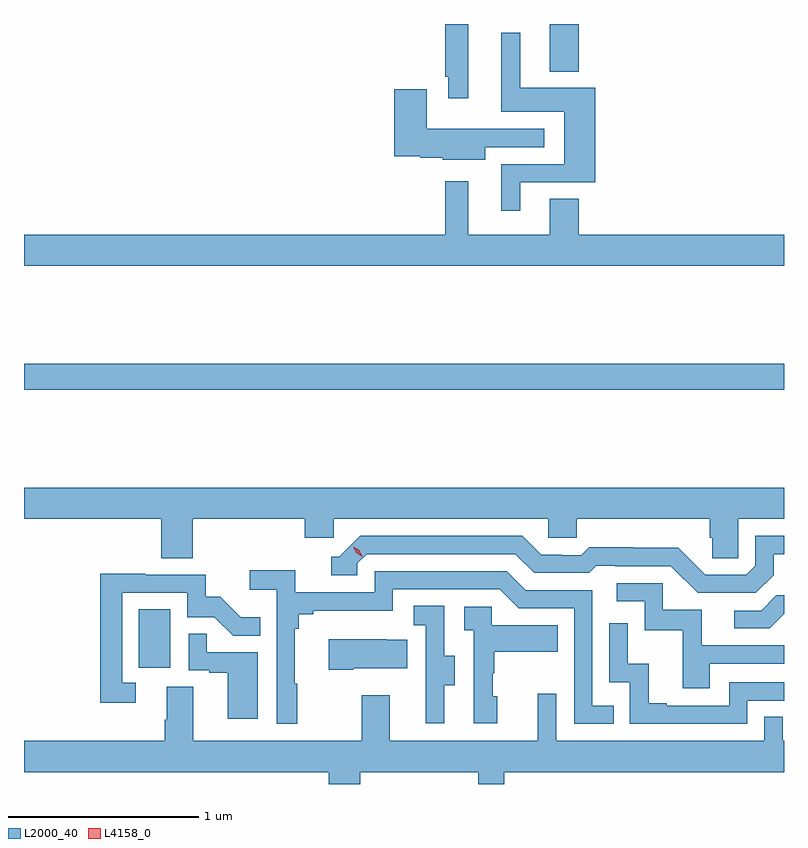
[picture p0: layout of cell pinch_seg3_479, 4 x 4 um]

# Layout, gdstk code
import gdstk
lib = gdstk.Library(unit=1e-6, precision=1e-09)
def R(c, l, rs):  # rectangles x0, y0, x1, y1
    for r in rs: c.add(gdstk.rectangle(r[:2], r[2:], *l))
def P(c, l, *ps):  # polygons
    for p in ps: c.add(gdstk.Polygon(p, *l))
L2000_40 = (2000, 40)
L4158_0 = (4158, 0)

pinch_seg3_479 = lib.new_cell('pinch_seg3_479')
R(pinch_seg3_479, L2000_40, [(1008.698,670.83,1008.862,671.137), (1008.093,672.292,1012.093,672.428), (1010.861,673.967,1011.014,674.217)])
P(pinch_seg3_479, L2000_40, [(1010.431,674.217),(1010.31,674.217),(1010.31,673.939),(1010.327,673.939),(1010.327,673.827),(1010.431,673.827)],
  [(1010.704,673.383),(1011.1,673.383),(1011.1,673.882),(1010.704,673.882),(1010.704,674.17),(1010.606,674.17),(1010.606,673.754),(1010.936,673.754),(1010.936,673.479),(1010.606,673.479),(1010.606,673.233),(1010.704,673.233)],
  [(1010.521,673.569),(1010.83,673.569),(1010.83,673.665),(1010.517,673.665),(1010.517,673.666),(1010.212,673.666),(1010.212,673.873),(1010.042,673.873),(1010.042,673.52),(1010.178,673.52),(1010.178,673.513),(1010.298,673.513),(1010.298,673.502),(1010.521,673.502)],
  [(1012.093,673.108),(1011.014,673.108),(1011.014,673.298),(1010.861,673.298),(1010.861,673.108),(1010.431,673.108),(1010.431,673.39),(1010.31,673.39),(1010.31,673.108),(1008.093,673.108),(1008.093,672.944),(1012.093,672.944)],
  [(1008.98,671.612),(1009.571,671.612),(1009.571,671.514),(1009.722,671.514),(1009.722,671.612),(1010.853,671.612),(1010.853,671.514),(1011.003,671.514),(1011.003,671.612),(1011.701,671.612),(1011.701,671.514),(1011.715,671.514),(1011.715,671.404),(1011.852,671.404),(1011.852,671.612),(1012.093,671.612),(1012.093,671.776),(1008.093,671.776),(1008.093,671.612),(1008.815,671.612),(1008.815,671.404),(1008.98,671.404)],
  [(1012.039,671.317),(1012.039,671.427),(1012.093,671.427),(1012.093,671.523),(1011.942,671.523),(1011.942,671.367),(1011.894,671.319),(1011.678,671.319),(1011.536,671.461),(1011.3,671.461),(1011.3,671.464),(1011.067,671.464),(1011.025,671.421),(1010.922,671.421),(1010.922,671.424),(1010.815,671.424),(1010.716,671.523),(1009.863,671.523),(1009.752,671.412),(1009.709,671.412),(1009.709,671.316),(1009.848,671.316),(1009.848,671.379),(1009.896,671.427),(1010.679,671.427),(1010.778,671.328),(1011.067,671.328),(1011.106,671.367),(1011.205,671.367),(1011.205,671.364),(1011.498,671.364),(1011.639,671.223),(1011.945,671.223)],
  [(1009.531,670.745),(1009.519,670.745),(1009.519,671.033),(1009.538,671.033),(1009.538,671.11),(1009.615,671.11),(1009.615,671.129),(1010.034,671.129),(1010.034,671.241),(1010.598,671.241),(1010.697,671.142),(1010.988,671.142),(1010.988,670.533),(1011.197,670.533),(1011.197,670.629),(1011.084,670.629),(1011.084,671.238),(1010.734,671.238),(1010.635,671.337),(1009.938,671.337),(1009.938,671.226),(1009.52,671.226),(1009.52,671.342),(1009.281,671.342),(1009.281,671.24),(1009.422,671.24),(1009.422,670.533),(1009.531,670.533)],
  [(1008.682,670.749),(1008.609,670.749),(1008.609,671.223),(1008.951,671.223),(1008.951,671.094),(1009.095,671.094),(1009.193,670.996),(1009.337,670.996),(1009.337,671.095),(1009.233,671.095),(1009.126,671.202),(1009.05,671.202),(1009.05,671.319),(1008.731,671.319),(1008.731,671.324),(1008.493,671.324),(1008.493,670.644),(1008.682,670.644)],
  [(1011.703,670.851),(1012.093,670.851),(1012.093,670.947),(1011.661,670.947),(1011.661,671.133),(1011.456,671.133),(1011.456,671.274),(1011.213,671.274),(1011.213,671.178),(1011.36,671.178),(1011.36,671.025),(1011.559,671.025),(1011.559,670.722),(1011.703,670.722)],
  [(1012.093,671.112),(1012.093,671.21),(1012.052,671.21),(1011.972,671.13),(1011.831,671.13),(1011.831,671.037),(1012.018,671.037)],
  [(1010.305,670.738),(1010.359,670.738),(1010.359,670.893),(1010.304,670.893),(1010.304,671.156),(1010.145,671.156),(1010.145,671.053),(1010.208,671.053),(1010.208,670.749),(1010.207,670.749),(1010.207,670.536),(1010.305,670.536)],
  [(1010.584,670.68),(1010.559,670.68),(1010.559,670.799),(1010.569,670.799),(1010.569,670.913),(1010.903,670.913),(1010.903,671.053),(1010.556,671.053),(1010.556,671.151),(1010.409,671.151),(1010.409,671.027),(1010.46,671.027),(1010.46,670.536),(1010.584,670.536)],
  [(1011.9,670.656),(1012.093,670.656),(1012.093,670.752),(1011.804,670.752),(1011.804,670.629),(1011.475,670.629),(1011.475,670.642),(1011.38,670.642),(1011.38,670.85),(1011.27,670.85),(1011.27,671.062),(1011.174,671.062),(1011.174,670.752),(1011.282,670.752),(1011.282,670.533),(1011.9,670.533)],
  [(1009.324,670.911),(1009.055,670.911),(1009.055,671.009),(1008.96,671.009),(1008.96,670.815),(1009.067,670.815),(1009.067,670.803),(1009.166,670.803),(1009.166,670.56),(1009.324,670.56)],
  [(1009.825,670.826),(1010.111,670.826),(1010.111,670.975),(1010.003,670.975),(1010.003,670.978),(1009.697,670.978),(1009.697,670.819),(1009.825,670.819)],
  [(1009.862,670.28),(1010.485,670.28),(1010.485,670.217),(1010.621,670.217),(1010.621,670.28),(1012.093,670.28),(1012.093,670.444),(1012.086,670.444),(1012.086,670.571),(1011.99,670.571),(1011.99,670.444),(1010.895,670.444),(1010.895,670.693),(1010.798,670.693),(1010.798,670.444),(1010.017,670.444),(1010.017,670.684),(1009.87,670.684),(1009.87,670.444),(1008.985,670.444),(1008.985,670.73),(1008.845,670.73),(1008.845,670.556),(1008.833,670.556),(1008.833,670.444),(1008.093,670.444),(1008.093,670.28),(1009.697,670.28),(1009.697,670.217),(1009.862,670.217)])
P(pinch_seg3_479, L4158_0, [(1009.873,671.414),(1009.842,671.434),(1009.826,671.467),(1009.826,671.467),(1009.827,671.467),(1009.857,671.447),(1009.873,671.414),(1009.873,671.414)])

lib.write_gds('pinch_seg3_479.gds')
